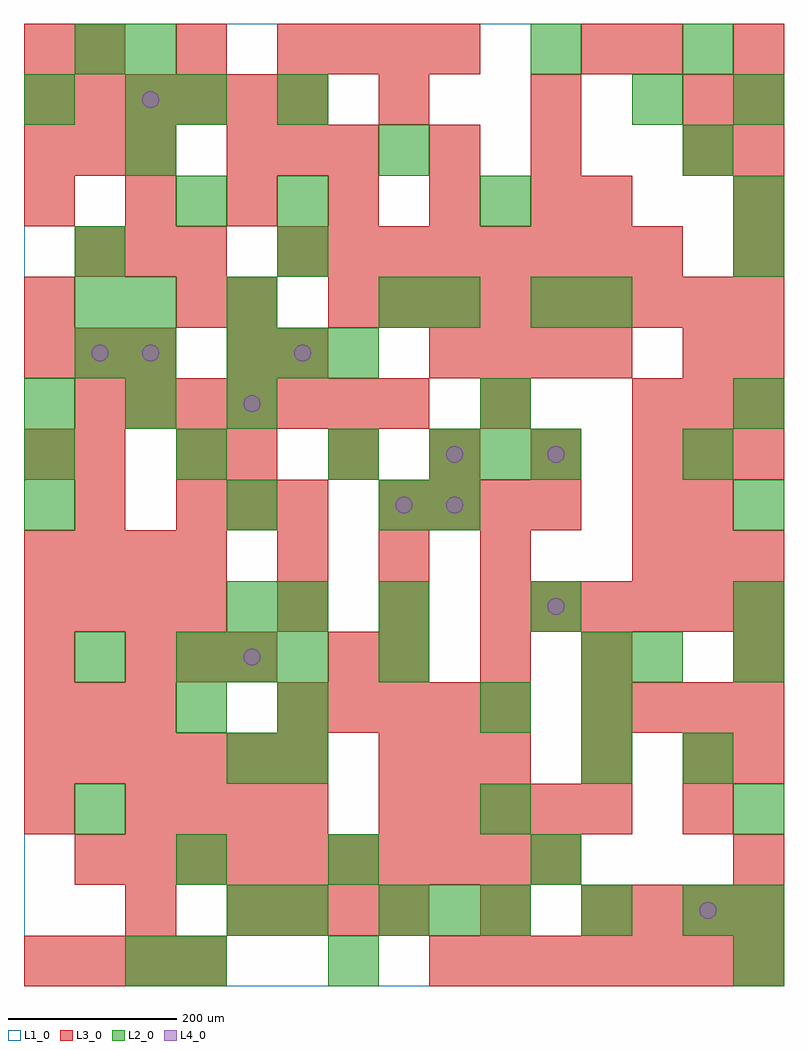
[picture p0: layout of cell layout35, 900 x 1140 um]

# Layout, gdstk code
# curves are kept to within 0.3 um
import gdstk
lib = gdstk.Library(unit=1e-6, precision=1e-09)
def R(c, l, rs):  # rectangles x0, y0, x1, y1
    for r in rs: c.add(gdstk.rectangle(r[:2], r[2:], *l))
def A(c, l, x, y, w, h, nx, ny, dx, dy):  # array of equal rectangles
    R(c, l, [(x+i*dx, y+j*dy, x+i*dx+w, y+j*dy+h) for i in range(nx) for j in range(ny)])
def P(c, l, *ps):  # polygons
    for p in ps: c.add(gdstk.Polygon(p, *l))
L1_0 = (1, 0)
L2_0 = (2, 0)
L3_0 = (3, 0)
L4_0 = (4, 0)

layout35 = lib.new_cell('layout35')
R(layout35, L1_0, [(0,0,900,1140)])
A(layout35, L2_0, 240, 60, 60, 60, 1, 3, 0, 180)
A(layout35, L2_0, 420, 60, 60, 60, 3, 1, 60, 0)
A(layout35, L2_0, 660, 240, 60, 60, 1, 3, 0, 60)
A(layout35, L2_0, 780, 240, 60, 60, 1, 3, 0, 360)
A(layout35, L2_0, 180, 360, 60, 60, 3, 1, 60, 0)
A(layout35, L2_0, 840, 420, 60, 60, 1, 3, 0, 120)
A(layout35, L2_0, 0, 600, 60, 60, 3, 1, 180, 0)
A(layout35, L2_0, 480, 600, 60, 60, 3, 1, 60, 0)
A(layout35, L2_0, 0, 660, 60, 60, 3, 1, 120, 0)
A(layout35, L2_0, 60, 720, 60, 60, 1, 3, 0, 60)
A(layout35, L2_0, 240, 720, 60, 60, 3, 1, 60, 0)
A(layout35, L2_0, 120, 960, 60, 60, 1, 3, 0, 60)
R(layout35, L2_0, [(120,0,180,60), (180,0,240,60), (360,0,420,60), (840,0,900,60), (300,60,360,120), (660,60,720,120), (780,60,840,120), (840,60,900,120), (180,120,240,180), (360,120,420,180), (600,120,660,180), (60,180,120,240), (540,180,600,240), (840,180,900,240), (300,240,360,300), (180,300,240,360), (300,300,360,360), (540,300,600,360), (60,360,120,420), (420,360,480,420), (720,360,780,420), (840,360,900,420), (300,420,360,480), (420,420,480,480), (600,420,660,480), (0,540,60,600), (240,540,300,600), (420,540,480,600), (480,540,540,600), (540,660,600,720), (120,720,180,780), (120,780,180,840), (240,780,300,840), (420,780,480,840), (480,780,540,840), (600,780,660,840), (660,780,720,840), (300,840,360,900), (840,840,900,900), (180,900,240,960), (300,900,360,960), (540,900,600,960), (840,900,900,960), (420,960,480,1020), (0,1020,60,1080), (180,1020,240,1080), (300,1020,360,1080), (720,1020,780,1080), (840,1020,900,1080), (60,1080,120,1140), (600,1080,660,1140), (780,1080,840,1140)])
A(layout35, L3_0, 0, 0, 60, 60, 4, 2, 60, 420)
A(layout35, L3_0, 480, 0, 60, 60, 7, 1, 60, 0)
A(layout35, L3_0, 240, 60, 60, 60, 4, 1, 60, 0)
A(layout35, L3_0, 660, 60, 60, 60, 4, 2, 60, 240)
A(layout35, L3_0, 60, 120, 60, 60, 10, 1, 60, 0)
A(layout35, L3_0, 840, 120, 60, 60, 1, 3, 0, 120)
A(layout35, L3_0, 120, 180, 60, 60, 4, 1, 60, 0)
A(layout35, L3_0, 420, 180, 60, 60, 5, 1, 60, 0)
A(layout35, L3_0, 0, 240, 60, 60, 6, 2, 60, 780)
A(layout35, L3_0, 420, 240, 60, 60, 3, 1, 60, 0)
A(layout35, L3_0, 0, 300, 60, 60, 3, 2, 60, 420)
A(layout35, L3_0, 300, 300, 60, 60, 5, 1, 60, 0)
A(layout35, L3_0, 120, 360, 60, 60, 3, 1, 60, 0)
A(layout35, L3_0, 420, 360, 60, 60, 3, 1, 120, 0)
A(layout35, L3_0, 300, 420, 60, 60, 3, 2, 120, 60)
A(layout35, L3_0, 600, 420, 60, 60, 5, 1, 60, 0)
A(layout35, L3_0, 0, 480, 60, 60, 4, 1, 60, 0)
A(layout35, L3_0, 720, 480, 60, 60, 3, 2, 60, 180)
A(layout35, L3_0, 180, 540, 60, 60, 3, 1, 60, 0)
A(layout35, L3_0, 420, 540, 60, 60, 4, 1, 60, 0)
A(layout35, L3_0, 240, 600, 60, 60, 5, 1, 120, 0)
A(layout35, L3_0, 840, 600, 60, 60, 1, 3, 0, 120)
A(layout35, L3_0, 60, 660, 60, 60, 7, 1, 60, 0)
A(layout35, L3_0, 480, 720, 60, 60, 4, 1, 60, 0)
A(layout35, L3_0, 360, 780, 60, 60, 9, 1, 60, 0)
A(layout35, L3_0, 60, 840, 60, 60, 3, 1, 60, 0)
A(layout35, L3_0, 300, 840, 60, 60, 8, 1, 60, 0)
A(layout35, L3_0, 0, 900, 60, 60, 6, 1, 120, 0)
A(layout35, L3_0, 840, 900, 60, 60, 1, 4, 0, 60)
A(layout35, L3_0, 0, 960, 60, 60, 3, 1, 60, 0)
A(layout35, L3_0, 240, 960, 60, 60, 3, 1, 60, 0)
A(layout35, L3_0, 420, 1020, 60, 60, 3, 1, 180, 0)
A(layout35, L3_0, 60, 1080, 60, 60, 3, 1, 120, 0)
A(layout35, L3_0, 360, 1080, 60, 60, 3, 1, 60, 0)
R(layout35, L3_0, [(120,60,180,120), (540,60,600,120), (0,180,60,240), (780,180,840,240), (660,240,720,300), (780,240,840,300), (0,360,60,420), (360,360,420,420), (60,540,120,600), (720,540,780,600), (780,540,840,600), (0,600,60,660), (60,600,120,660), (180,600,240,660), (780,600,840,660), (540,660,600,720), (240,720,300,780), (300,720,360,780), (780,720,840,780), (0,780,60,840), (180,780,240,840), (240,780,300,840), (660,900,720,960), (480,960,540,1020), (600,960,660,1020), (780,960,840,1020), (0,1080,60,1140), (660,1080,720,1140), (720,1080,780,1140)])
P(layout35, L4_0, [(100,750),(99.239,753.827),(97.071,757.071),(93.827,759.239),(90,760),(86.173,759.239),(82.929,757.071),(80.761,753.827),(80,750),(80.761,746.173),(82.929,742.929),(86.173,740.761),(90,740),(93.827,740.761),(97.071,742.929),(99.239,746.173)],
  [(160,750),(159.239,753.827),(157.071,757.071),(153.827,759.239),(150,760),(146.173,759.239),(142.929,757.071),(140.761,753.827),(140,750),(140.761,746.173),(142.929,742.929),(146.173,740.761),(150,740),(153.827,740.761),(157.071,742.929),(159.239,746.173)],
  [(160,1050),(159.239,1053.827),(157.071,1057.071),(153.827,1059.239),(150,1060),(146.173,1059.239),(142.929,1057.071),(140.761,1053.827),(140,1050),(140.761,1046.173),(142.929,1042.929),(146.173,1040.761),(150,1040),(153.827,1040.761),(157.071,1042.929),(159.239,1046.173)],
  [(280,390),(279.239,393.827),(277.071,397.071),(273.827,399.239),(270,400),(266.173,399.239),(262.929,397.071),(260.761,393.827),(260,390),(260.761,386.173),(262.929,382.929),(266.173,380.761),(270,380),(273.827,380.761),(277.071,382.929),(279.239,386.173)],
  [(280,690),(279.239,693.827),(277.071,697.071),(273.827,699.239),(270,700),(266.173,699.239),(262.929,697.071),(260.761,693.827),(260,690),(260.761,686.173),(262.929,682.929),(266.173,680.761),(270,680),(273.827,680.761),(277.071,682.929),(279.239,686.173)],
  [(340,750),(339.239,753.827),(337.071,757.071),(333.827,759.239),(330,760),(326.173,759.239),(322.929,757.071),(320.761,753.827),(320,750),(320.761,746.173),(322.929,742.929),(326.173,740.761),(330,740),(333.827,740.761),(337.071,742.929),(339.239,746.173)],
  [(460,570),(459.239,573.827),(457.071,577.071),(453.827,579.239),(450,580),(446.173,579.239),(442.929,577.071),(440.761,573.827),(440,570),(440.761,566.173),(442.929,562.929),(446.173,560.761),(450,560),(453.827,560.761),(457.071,562.929),(459.239,566.173)],
  [(520,570),(519.239,573.827),(517.071,577.071),(513.827,579.239),(510,580),(506.173,579.239),(502.929,577.071),(500.761,573.827),(500,570),(500.761,566.173),(502.929,562.929),(506.173,560.761),(510,560),(513.827,560.761),(517.071,562.929),(519.239,566.173)],
  [(520,630),(519.239,633.827),(517.071,637.071),(513.827,639.239),(510,640),(506.173,639.239),(502.929,637.071),(500.761,633.827),(500,630),(500.761,626.173),(502.929,622.929),(506.173,620.761),(510,620),(513.827,620.761),(517.071,622.929),(519.239,626.173)],
  [(640,450),(639.239,453.827),(637.071,457.071),(633.827,459.239),(630,460),(626.173,459.239),(622.929,457.071),(620.761,453.827),(620,450),(620.761,446.173),(622.929,442.929),(626.173,440.761),(630,440),(633.827,440.761),(637.071,442.929),(639.239,446.173)],
  [(640,630),(639.239,633.827),(637.071,637.071),(633.827,639.239),(630,640),(626.173,639.239),(622.929,637.071),(620.761,633.827),(620,630),(620.761,626.173),(622.929,622.929),(626.173,620.761),(630,620),(633.827,620.761),(637.071,622.929),(639.239,626.173)],
  [(820,90),(819.239,93.827),(817.071,97.071),(813.827,99.239),(810,100),(806.173,99.239),(802.929,97.071),(800.761,93.827),(800,90),(800.761,86.173),(802.929,82.929),(806.173,80.761),(810,80),(813.827,80.761),(817.071,82.929),(819.239,86.173)])

lib.write_gds('layout35.gds')
